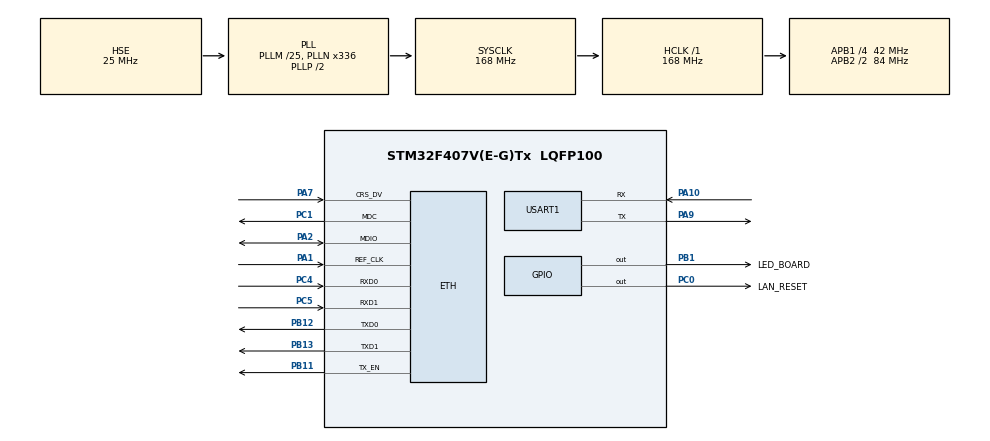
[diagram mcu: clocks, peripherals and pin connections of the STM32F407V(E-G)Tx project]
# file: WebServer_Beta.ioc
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Cesanta.I-CUBE-Mongoose.7.13.0.MG_ARCH=MG_ARCH_FREERTOS
Dma.Request0=USART1_RX
Dma.Request1=USART1_TX
Dma.USART1_RX.0.Direction=DMA_PERIPH_TO_MEMORY
Dma.USART1_RX.0.FIFOMode=DMA_FIFOMODE_DISABLE
Dma.USART1_RX.0.Instance=DMA2_Stream2
Dma.USART1_RX.0.MemDataAlignment=DMA_MDATAALIGN_BYTE
Dma.USART1_RX.0.MemInc=DMA_MINC_ENABLE
Dma.USART1_RX.0.Mode=DMA_NORMAL
Dma.USART1_RX.0.PeriphDataAlignment=DMA_PDATAALIGN_BYTE
Dma.USART1_RX.0.PeriphInc=DMA_PINC_DISABLE
Dma.USART1_RX.0.Priority=DMA_PRIORITY_LOW
Dma.USART1_TX.1.Direction=DMA_MEMORY_TO_PERIPH
Dma.USART1_TX.1.FIFOMode=DMA_FIFOMODE_DISABLE
Dma.USART1_TX.1.Instance=DMA2_Stream7
Dma.USART1_TX.1.MemDataAlignment=DMA_MDATAALIGN_BYTE
Dma.USART1_TX.1.MemInc=DMA_MINC_ENABLE
Dma.USART1_TX.1.Mode=DMA_NORMAL
Dma.USART1_TX.1.PeriphDataAlignment=DMA_PDATAALIGN_BYTE
Dma.USART1_TX.1.PeriphInc=DMA_PINC_DISABLE
Dma.USART1_TX.1.Priority=DMA_PRIORITY_LOW
ETH.MACAddr=AA\:80\:E1\:BB\:CC\:DD
ETH.MediaInterface=HAL_ETH_RMII_MODE
FREERTOS.Tasks01=defaultTask,0,128,StartDefaultTask,Default,NULL,Dynamic,NULL,NULL
FREERTOS.configGENERATE_RUN_TIME_STATS=1
FREERTOS.configRECORD_STACK_HIGH_ADDRESS=1
FREERTOS.configTOTAL_HEAP_SIZE=61440
FREERTOS.configUSE_COUNTING_SEMAPHORES=1
FREERTOS.configUSE_NEWLIB_REENTRANT=1
FREERTOS.configUSE_STATS_FORMATTING_FUNCTIONS=1
FREERTOS.configUSE_TRACE_FACILITY=1
Mcu.Family=STM32F4
Mcu.Name=STM32F407V(E-G)Tx
Mcu.Package=LQFP100
NVIC.DMA2_Stream2_IRQn=true\:5\:0\:false\:false\:true\:true\:false\:true\:true
NVIC.DMA2_Stream7_IRQn=true\:5\:0\:false\:false\:true\:true\:false\:true\:true
NVIC.ETH_IRQn=true\:5\:0\:false\:false\:false\:true\:true\:false\:true
NVIC.PriorityGroup=NVIC_PRIORITYGROUP_4
NVIC.TIM8_TRG_COM_TIM14_IRQn=true\:15\:0\:false\:false\:true\:false\:false\:true\:true
NVIC.TimeBase=TIM8_TRG_COM_TIM14_IRQn
NVIC.TimeBaseIP=TIM14
NVIC.USART1_IRQn=true\:5\:0\:false\:false\:true\:true\:true\:true\:true
PA1.Mode=RMII
PA1.Signal=ETH_REF_CLK
PA10.GPIO_PuPd=GPIO_PULLUP
PA10.Mode=Asynchronous
PA10.Signal=USART1_RX
PA13.Mode=Serial_Wire
PA13.Signal=SYS_JTMS-SWDIO
PA14.Mode=Serial_Wire
PA14.Signal=SYS_JTCK-SWCLK
PA2.Mode=RMII
PA2.Signal=ETH_MDIO
PA7.Mode=RMII
PA7.Signal=ETH_CRS_DV
PA9.GPIO_PuPd=GPIO_PULLUP
PA9.Mode=Asynchronous
PA9.Signal=USART1_TX
PB1.GPIO_Label=LED_BOARD
PB1.Signal=GPIO_Output
PB11.Mode=RMII
PB11.Signal=ETH_TX_EN
PB12.Mode=RMII
PB12.Signal=ETH_TXD0
PB13.Mode=RMII
PB13.Signal=ETH_TXD1
PC0.GPIO_Label=LAN_RESET
PC0.GPIO_PuPd=GPIO_PULLUP
PC0.PinState=GPIO_PIN_SET
PC0.Signal=GPIO_Output
PC1.Mode=RMII
PC1.Signal=ETH_MDC
PC4.Mode=RMII
PC4.Signal=ETH_RXD0
PC5.Mode=RMII
PC5.Signal=ETH_RXD1
PH0-OSC_IN.Mode=HSE-External-Oscillator
PH0-OSC_IN.Signal=RCC_OSC_IN
PH1-OSC_OUT.Mode=HSE-External-Oscillator
PH1-OSC_OUT.Signal=RCC_OSC_OUT
ProjectManager.HeapSize=0x200
ProjectManager.StackSize=0x400
ProjectManager.TargetToolchain=STM32CubeIDE
RCC.48MHZClocksFreq_Value=84000000
RCC.AHBFreq_Value=168000000
RCC.APB1CLKDivider=RCC_HCLK_DIV4
RCC.APB1Freq_Value=42000000
RCC.APB1TimFreq_Value=84000000
RCC.APB2CLKDivider=RCC_HCLK_DIV2
RCC.APB2Freq_Value=84000000
RCC.APB2TimFreq_Value=168000000
RCC.CortexFreq_Value=168000000
RCC.HCLKFreq_Value=168000000
RCC.HSE_VALUE=25000000
RCC.HSI_VALUE=16000000
RCC.LSE_VALUE=32768
RCC.PLLM=25
RCC.PLLN=336
RCC.PLLSourceVirtual=RCC_PLLSOURCE_HSE
RCC.SYSCLKFreq_VALUE=168000000
RCC.SYSCLKSource=RCC_SYSCLKSOURCE_PLLCLK
RCC.VCOOutputFreq_Value=336000000
USART1.VirtualMode=VM_ASYNC
VP_FREERTOS_VS_CMSIS_V1.Mode=CMSIS_V1
VP_SYS_VS_tim14.Mode=TIM14
board=custom

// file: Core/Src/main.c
/* USER CODE BEGIN Header */
/**
  ******************************************************************************
  * @file           : main.c
  * @brief          : Main program body
  ******************************************************************************
  * @attention
  *
  * Copyright (c) 2025 STMicroelectronics.
  * All rights reserved.
  *
  * This software is licensed under terms that can be found in the LICENSE file
  * in the root directory of this software component.
  * If no LICENSE file comes with this software, it is provided AS-IS.
  *
  **************************D****************************************************
  */
/* USER CODE END Header */
#include "main.h"
#include "string.h"
#include "cmsis_os.h"

/* USER CODE BEGIN Includes */
#include "DebugLog.h"
#include "Web_User.h"
#include "HMI_Connextion.h"
#include "FreeRTOSConfig.h"
/* USER CODE END Includes */

ETH_TxPacketConfig TxConfig;
ETH_DMADescTypeDef  DMARxDscrTab[ETH_RX_DESC_CNT]; /* Ethernet Rx DMA Descriptors */
ETH_DMADescTypeDef  DMATxDscrTab[ETH_TX_DESC_CNT]; /* Ethernet Tx DMA Descriptors */

ETH_HandleTypeDef heth;

UART_HandleTypeDef huart1;
DMA_HandleTypeDef hdma_usart1_rx;
DMA_HandleTypeDef hdma_usart1_tx;

/* USER CODE BEGIN PV */
#if( configAPPLICATION_ALLOCATED_HEAP == 1 )
uint8_t ucHeap[ configTOTAL_HEAP_SIZE ] __attribute__((section(".ccmram")));
#endif

extern TaskHandle_t WebServer_TaskHandler;
extern TaskHandle_t hmiConn_TaskHandle;

TestWs_t TestWs;
/* USER CODE END PV */

void SystemClock_Config(void);
static void MX_GPIO_Init(void);
static void MX_DMA_Init(void);
static void MX_ETH_Init(void);
static void MX_USART1_UART_Init(void);

int main(void)
{

  /* MCU Configuration--------------------------------------------------------*/

  /* Reset of all peripherals, Initializes the Flash interface and the Systick. */
  HAL_Init();

  /* Configure the system clock */
  SystemClock_Config();

  /* Initialize all configured peripherals */
  MX_GPIO_Init();
  MX_DMA_Init();
  MX_ETH_Init();
  MX_USART1_UART_Init();
  /* USER CODE BEGIN 2 */
  debugLog_initBeforeTask();

  webUser_initialBeforeTask();
  hmiConn_initialBeforeTask();

  /* USER CODE END 2 */

  /* Create the thread(s) */

  /* USER CODE BEGIN RTOS_THREADS */
  /* add threads, ... */
  xTaskCreate(webUser_taskHandler_webServer, "Task WebServer", 2048, NULL, tskIDLE_PRIORITY, &WebServer_TaskHandler);
  xTaskCreate(hmiConn_taskHandler_connection, "HMI Connection", 256, NULL, tskIDLE_PRIORITY, &hmiConn_TaskHandle);
  /* USER CODE END RTOS_THREADS */

  /* Start scheduler */
  osKernelStart();

  /* We should never get here as control is now taken by the scheduler */

  /* Infinite loop */
  while (1)
  {

  }
}

void SystemClock_Config(void)
{
  RCC_OscInitTypeDef RCC_OscInitStruct = {0};
  RCC_ClkInitTypeDef RCC_ClkInitStruct = {0};

  /** Configure the main internal regulator output voltage
  */
  __HAL_RCC_PWR_CLK_ENABLE();
  __HAL_PWR_VOLTAGESCALING_CONFIG(PWR_REGULATOR_VOLTAGE_SCALE1);

  /** Initializes the RCC Oscillators according to the specified parameters
  * in the RCC_OscInitTypeDef structure.
  */
  RCC_OscInitStruct.OscillatorType = RCC_OSCILLATORTYPE_HSE;
  RCC_OscInitStruct.HSEState = RCC_HSE_ON;
  RCC_OscInitStruct.PLL.PLLState = RCC_PLL_ON;
  RCC_OscInitStruct.PLL.PLLSource = RCC_PLLSOURCE_HSE;
  RCC_OscInitStruct.PLL.PLLM = 25;
  RCC_OscInitStruct.PLL.PLLN = 336;
  RCC_OscInitStruct.PLL.PLLP = RCC_PLLP_DIV2;
  RCC_OscInitStruct.PLL.PLLQ = 4;
  if (HAL_RCC_OscConfig(&RCC_OscInitStruct) != HAL_OK)
  {
    Error_Handler();
  }

  /** Initializes the CPU, AHB and APB buses clocks
  */
  RCC_ClkInitStruct.ClockType = RCC_CLOCKTYPE_HCLK|RCC_CLOCKTYPE_SYSCLK
                              |RCC_CLOCKTYPE_PCLK1|RCC_CLOCKTYPE_PCLK2;
  RCC_ClkInitStruct.SYSCLKSource = RCC_SYSCLKSOURCE_PLLCLK;
  RCC_ClkInitStruct.AHBCLKDivider = RCC_SYSCLK_DIV1;
  RCC_ClkInitStruct.APB1CLKDivider = RCC_HCLK_DIV4;
  RCC_ClkInitStruct.APB2CLKDivider = RCC_HCLK_DIV2;

  if (HAL_RCC_ClockConfig(&RCC_ClkInitStruct, FLASH_LATENCY_5) != HAL_OK)
  {
    Error_Handler();
  }
}

static void MX_ETH_Init(void)
{

   static uint8_t MACAddr[6];

  heth.Instance = ETH;
  MACAddr[0] = 0xAA;
  MACAddr[1] = 0x80;
  MACAddr[2] = 0xE1;
  MACAddr[3] = 0xBB;
  MACAddr[4] = 0xCC;
  MACAddr[5] = 0xDD;
  heth.Init.MACAddr = &MACAddr[0];
  heth.Init.MediaInterface = HAL_ETH_RMII_MODE;
  heth.Init.TxDesc = DMATxDscrTab;
  heth.Init.RxDesc = DMARxDscrTab;
  heth.Init.RxBuffLen = 1524;

  if (HAL_ETH_Init(&heth) != HAL_OK)
  {
    Error_Handler();
  }

  memset(&TxConfig, 0 , sizeof(ETH_TxPacketConfig));
  TxConfig.Attributes = ETH_TX_PACKETS_FEATURES_CSUM | ETH_TX_PACKETS_FEATURES_CRCPAD;
  TxConfig.ChecksumCtrl = ETH_CHECKSUM_IPHDR_PAYLOAD_INSERT_PHDR_CALC;
  TxConfig.CRCPadCtrl = ETH_CRC_PAD_INSERT;

}

static void MX_USART1_UART_Init(void)
{

  huart1.Instance = USART1;
  huart1.Init.BaudRate = 115200;
  huart1.Init.WordLength = UART_WORDLENGTH_8B;
  huart1.Init.StopBits = UART_STOPBITS_1;
  huart1.Init.Parity = UART_PARITY_NONE;
  huart1.Init.Mode = UART_MODE_TX_RX;
  huart1.Init.HwFlowCtl = UART_HWCONTROL_NONE;
  huart1.Init.OverSampling = UART_OVERSAMPLING_16;
  if (HAL_UART_Init(&huart1) != HAL_OK)
  {
    Error_Handler();
  }

}

static void MX_DMA_Init(void)
{

  /* DMA controller clock enable */
  __HAL_RCC_DMA2_CLK_ENABLE();

  /* DMA interrupt init */
  /* DMA2_Stream2_IRQn interrupt configuration */
  HAL_NVIC_SetPriority(DMA2_Stream2_IRQn, 5, 0);
  HAL_NVIC_EnableIRQ(DMA2_Stream2_IRQn);
  /* DMA2_Stream7_IRQn interrupt configuration */
  HAL_NVIC_SetPriority(DMA2_Stream7_IRQn, 5, 0);
  HAL_NVIC_EnableIRQ(DMA2_Stream7_IRQn);

}

static void MX_GPIO_Init(void)
{
  GPIO_InitTypeDef GPIO_InitStruct = {0};

  /* GPIO Ports Clock Enable */
  __HAL_RCC_GPIOH_CLK_ENABLE();
  __HAL_RCC_GPIOC_CLK_ENABLE();
  __HAL_RCC_GPIOA_CLK_ENABLE();
  __HAL_RCC_GPIOB_CLK_ENABLE();

  /*Configure GPIO pin Output Level */
  HAL_GPIO_WritePin(LAN_RESET_GPIO_Port, LAN_RESET_Pin, GPIO_PIN_SET);

  /*Configure GPIO pin Output Level */
  HAL_GPIO_WritePin(LED_BOARD_GPIO_Port, LED_BOARD_Pin, GPIO_PIN_RESET);

  /*Configure GPIO pin : LAN_RESET_Pin */
  GPIO_InitStruct.Pin = LAN_RESET_Pin;
  GPIO_InitStruct.Mode = GPIO_MODE_OUTPUT_PP;
  GPIO_InitStruct.Pull = GPIO_PULLUP;
  GPIO_InitStruct.Speed = GPIO_SPEED_FREQ_LOW;
  HAL_GPIO_Init(LAN_RESET_GPIO_Port, &GPIO_InitStruct);

  /*Configure GPIO pin : LED_BOARD_Pin */
  GPIO_InitStruct.Pin = LED_BOARD_Pin;
  GPIO_InitStruct.Mode = GPIO_MODE_OUTPUT_PP;
  GPIO_InitStruct.Pull = GPIO_NOPULL;
  GPIO_InitStruct.Speed = GPIO_SPEED_FREQ_LOW;
  HAL_GPIO_Init(LED_BOARD_GPIO_Port, &GPIO_InitStruct);

}

void HAL_TIM_PeriodElapsedCallback(TIM_HandleTypeDef *htim)
{
  if (htim->Instance == TIM14)
  {
    HAL_IncTick();
  }
}

void Error_Handler(void)
{
  __disable_irq();
  while (1)
  {
  }
}
